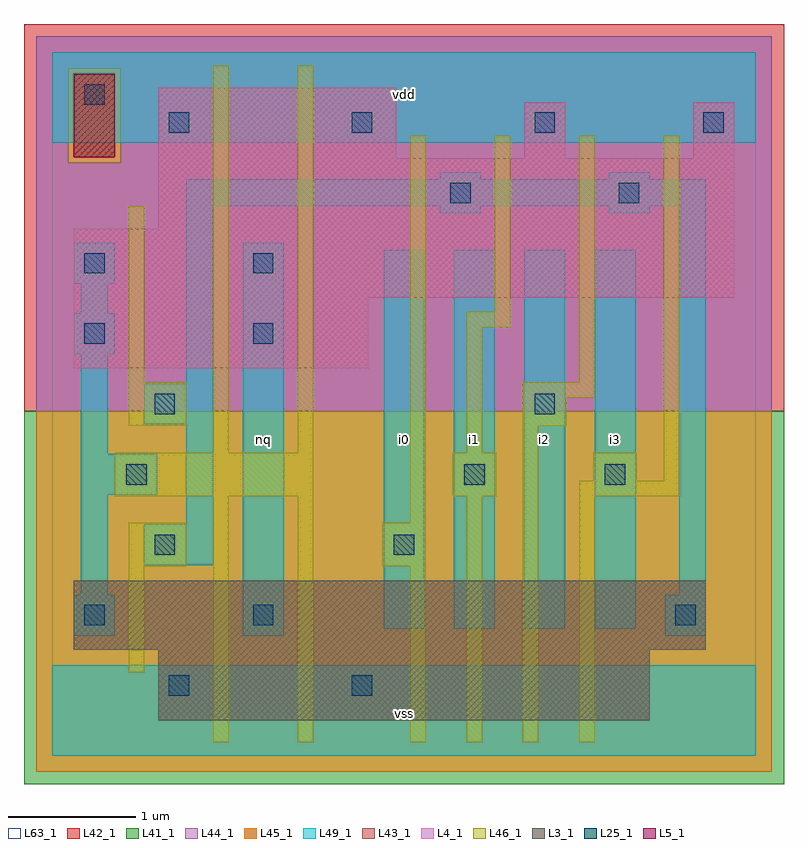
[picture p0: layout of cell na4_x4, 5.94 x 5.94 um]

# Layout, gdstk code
import gdstk
lib = gdstk.Library(unit=1e-6, precision=1e-09)
def R(c, l, rs):  # rectangles x0, y0, x1, y1
    for r in rs: c.add(gdstk.rectangle(r[:2], r[2:], *l))
def A(c, l, x, y, w, h, nx, ny, dx, dy):  # array of equal rectangles
    R(c, l, [(x+i*dx, y+j*dy, x+i*dx+w, y+j*dy+h) for i in range(nx) for j in range(ny)])
L3_1 = (3, 1)
L4_1 = (4, 1)
L5_1 = (5, 1)
L25_1 = (25, 1)
L41_1 = (41, 1)
L42_1 = (42, 1)
L43_1 = (43, 1)
L44_1 = (44, 1)
L45_1 = (45, 1)
L46_1 = (46, 1)
L49_1 = (49, 1)
L63_1 = (63, 1)

na4_x4 = lib.new_cell('na4_x4')
R(na4_x4, L3_1, [(0.83,0.28,4.67,0.83), (0.17,0.83,5.11,1.37)])
R(na4_x4, L4_1, [(0.17,3.03,2.47,3.58), (0.17,3.58,5.33,4.12), (0.83,4.12,5.33,4.67), (0.83,4.67,2.69,5.22), (3.69,4.67,4.01,5.11), (5.01,4.67,5.33,5.11)])
R(na4_x4, L5_1, [(0.17,4.68,0.49,5.33)])
A(na4_x4, L25_1, 0.91, 4.87, 0.16, 0.16, 3, 1, 1.43, 0)
R(na4_x4, L25_1, [(0.91,0.47,1.07,0.63), (2.34,0.47,2.5,0.63), (0.25,1.02,0.41,1.18), (1.57,1.02,1.73,1.18), (4.87,1.02,5.03,1.18), (0.8,1.57,0.96,1.73), (2.67,1.57,2.83,1.73), (0.58,2.12,0.74,2.28), (3.22,2.12,3.38,2.28), (4.32,2.12,4.48,2.28), (0.8,2.67,0.96,2.83), (3.77,2.67,3.93,2.83), (0.25,3.22,0.41,3.38), (1.57,3.22,1.73,3.38), (0.25,3.77,0.41,3.93), (1.57,3.77,1.73,3.93), (3.11,4.32,3.27,4.48), (4.43,4.32,4.59,4.48), (5.09,4.87,5.25,5.03), (0.25,5.09,0.41,5.25)])
R(na4_x4, L41_1, [(-0.22,-0.22,5.72,2.695)])
R(na4_x4, L42_1, [(-0.22,2.695,5.72,5.72)])
R(na4_x4, L43_1, [(0.83,0.28,4.67,0.83), (0.17,0.83,5.11,1.37), (0.17,3.03,2.47,3.58), (0.17,3.58,5.33,4.12), (0.83,4.12,5.33,4.67), (0.83,4.67,2.69,5.22), (3.69,4.67,4.01,5.11), (5.01,4.67,5.33,5.11), (0.17,4.68,0.49,5.33)])
R(na4_x4, L44_1, [(-0.125,2.695,5.625,4.635), (-0.125,4.635,0.125,5.375), (0.535,4.635,5.625,5.375), (-0.125,5.375,5.625,5.625)])
R(na4_x4, L45_1, [(-0.125,-0.125,5.625,2.695), (0.125,4.635,0.535,5.375)])
R(na4_x4, L46_1, [(1.26,0.105,1.38,2.03), (1.92,0.105,2.04,2.03), (2.8,0.105,2.92,1.48), (3.24,0.105,3.36,2.03), (3.68,0.105,3.8,2.58), (4.12,0.105,4.24,2.03), (0.6,0.655,0.72,1.48), (0.6,1.48,1.05,1.82), (2.58,1.48,2.92,1.82), (2.8,1.82,2.92,4.845), (0.49,2.03,2.04,2.37), (3.13,2.03,3.47,2.37), (4.12,2.03,4.9,2.15), (4.23,2.15,4.57,2.37), (4.78,2.15,4.9,4.845), (1.26,2.37,1.38,5.395), (1.92,2.37,2.04,5.395), (3.24,2.37,3.36,3.35), (0.6,2.58,1.05,2.92), (3.68,2.58,4.02,2.8), (3.68,2.8,4.24,2.92), (0.6,2.92,0.72,4.295), (4.12,2.92,4.24,4.845), (3.24,3.35,3.58,3.47), (3.46,3.47,3.58,4.845)])
A(na4_x4, L49_1, 2.59, 0.995, 0.32, 2.96, 4, 1, 0.55, 0)
R(na4_x4, L49_1, [(0,0,5.5,0.71), (0.17,0.94,0.49,1.26), (1.49,0.94,1.81,4.01), (4.79,0.94,5.11,1.26), (0.225,1.26,0.435,2.04), (4.9,1.26,5.11,4.295), (0.72,1.49,1.26,1.81), (1.05,1.81,1.26,2.59), (0.225,2.04,0.82,2.36), (0.225,2.36,0.435,3.14), (0.72,2.59,1.26,2.91), (1.05,2.91,1.26,4.295), (0.17,3.14,0.49,3.46), (0.225,3.46,0.435,3.69), (0.17,3.69,0.49,4.01), (3.03,4.24,3.35,4.295), (4.35,4.24,4.67,4.295), (1.05,4.295,5.11,4.505), (3.03,4.505,3.35,4.56), (4.35,4.505,4.67,4.56), (0,4.79,5.5,5.5)])
R(na4_x4, L63_1, [(0,0,5.5,5.5)])
na4_x4.add(gdstk.Label('nq', (1.65,2.475), layer=49, texttype=1))
na4_x4.add(gdstk.Label('nq', (1.65,2.475), layer=49, texttype=1))
na4_x4.add(gdstk.Label('vss', (2.75,0.33), layer=49, texttype=1))
na4_x4.add(gdstk.Label('vss', (2.75,0.33), layer=49, texttype=1))
na4_x4.add(gdstk.Label('i0', (2.75,2.475), layer=49, texttype=1))
na4_x4.add(gdstk.Label('i0', (2.75,2.475), layer=49, texttype=1))
na4_x4.add(gdstk.Label('i2', (3.85,2.475), layer=49, texttype=1))
na4_x4.add(gdstk.Label('i1', (3.3,2.475), layer=49, texttype=1))
na4_x4.add(gdstk.Label('i2', (3.85,2.475), layer=49, texttype=1))
na4_x4.add(gdstk.Label('i1', (3.3,2.475), layer=49, texttype=1))
na4_x4.add(gdstk.Label('vdd', (2.75,5.17), layer=49, texttype=1))
na4_x4.add(gdstk.Label('vdd', (2.75,5.17), layer=49, texttype=1))
na4_x4.add(gdstk.Label('i3', (4.4,2.475), layer=49, texttype=1))
na4_x4.add(gdstk.Label('i3', (4.4,2.475), layer=49, texttype=1))

lib.write_gds('na4_x4.gds')
